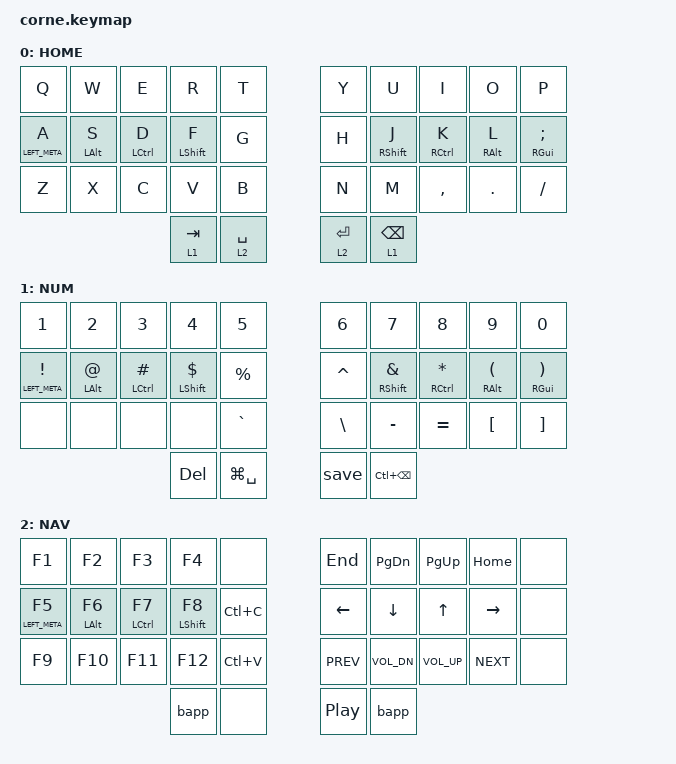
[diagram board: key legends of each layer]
/*
 * Copyright (c) 2020 The ZMK Contributors
 *
 * SPDX-License-Identifier: MIT
 */

#include <behaviors/battery_percentage_printer.dtsi>
#include <behaviors.dtsi>
#include <dt-bindings/zmk/bt.h>
#include <dt-bindings/zmk/keys.h>
#include <dt-bindings/zmk/outputs.h>

/ {
    behaviors {
        hm: homerow_mods {
            compatible = "zmk,behavior-hold-tap";
            label = "HOMEROW_MODS";
            bindings = <&kp>, <&kp>;

            #binding-cells = <2>;
            tapping-term-ms = <200>;
            flavor = "tap-preferred";
            require-prior-idle-ms = <125>;
            quick-tap-ms = <200>;
        };

        shifthr: shifthr {
            compatible = "zmk,behavior-hold-tap";
            label = "SHIFTHR";
            bindings = <&kp>, <&kp>;

            #binding-cells = <2>;
            tapping-term-ms = <185>;
            flavor = "tap-preferred";
            quick-tap-ms = <185>;
        };

        weak: weak {
            compatible = "zmk,behavior-hold-tap";
            label = "WEAK";
            bindings = <&kp>, <&kp>;

            #binding-cells = <2>;
            tapping-term-ms = <230>;
            flavor = "tap-preferred";
            require-prior-idle-ms = <125>;
            quick-tap-ms = <230>;
        };
    };

    combos {
        compatible = "zmk,combos";

        caps {
            bindings = <&kp CAPS>;
            key-positions = <16 13>;
        };

        esc {
            bindings = <&kp ESCAPE>;
            key-positions = <2 1>;
        };

        quote {
            bindings = <&kp SQT>;
            key-positions = <17 18>;
        };

    };

    macros {
        save: save {
            compatible = "zmk,behavior-macro";
            #binding-cells = <0>;
            bindings = <&macro_tap>, <&kp ESCAPE &kp COLON &kp W &kp ENTER>;

            label = "SAVE";
        };
    };

    keymap {
        compatible = "zmk,keymap";

        Home-0 {
            display-name = "HOME";
            bindings = <
&kp Q              &kp W             &kp E                    &kp R                  &kp T        &kp Y        &kp U              &kp I             &kp O              &kp P
&weak LEFT_META A  &weak LEFT_ALT S  &shifthr LEFT_CONTROL D  &shifthr LEFT_SHIFT F  &kp G        &kp H        &shifthr RSHIFT J  &shifthr RCTRL K  &weak RIGHT_ALT L  &weak RIGHT_GUI SEMICOLON
&kp Z              &kp X             &kp C                    &kp V                  &kp B        &kp N        &kp M              &kp COMMA         &kp DOT            &kp SLASH
                                                              &lt 1 TAB              &lt 2 SPACE  &lt 2 ENTER  &lt 1 BACKSPACE
            >;
        };

        Num-1 {
            display-name = "NUM";
            bindings = <
&kp NUMBER_1                 &kp NUMBER_2            &kp NUMBER_3         &kp NUMBER_4                &kp N5         &kp NUMBER_6   &kp NUMBER_7                    &kp N8                           &kp N9                            &kp NUMBER_0
&weak LEFT_META EXCLAMATION  &weak LEFT_ALT AT_SIGN  &shifthr LCTRL HASH  &shifthr LEFT_SHIFT DOLLAR  &kp PERCENT    &kp CARET      &shifthr RIGHT_SHIFT AMPERSAND  &shifthr RIGHT_CONTROL ASTERISK  &weak RIGHT_ALT LEFT_PARENTHESIS  &weak RIGHT_GUI RIGHT_PARENTHESIS
&none                        &none                   &none                &none                       &kp GRAVE      &kp BACKSLASH  &kp MINUS                       &kp EQUAL                        &kp LEFT_BRACKET                  &kp RIGHT_BRACKET
                                                                          &kp DEL                     &kp LG(SPACE)  &save          &kp LC(BACKSPACE)
            >;
        };

        Nav-2 {
            display-name = "NAV";
            bindings = <
&kp F1              &kp F2             &kp F3             &kp F4                  &none      &kp END           &kp PAGE_DOWN  &kp PG_UP        &kp HOME    &none
&weak LEFT_META F5  &weak LEFT_ALT F6  &shifthr LCTRL F7  &shifthr LEFT_SHIFT F8  &kp LC(C)  &kp LEFT_ARROW    &kp DOWN       &kp UP_ARROW     &kp RIGHT   &none
&kp F9              &kp F10            &kp F11            &kp F12                 &kp LC(V)  &kp C_PREV        &kp C_VOL_DN   &kp C_VOLUME_UP  &kp C_NEXT  &none
                                                          &bapp                   &none      &kp C_PLAY_PAUSE  &bapp
            >;
        };

    };
};
